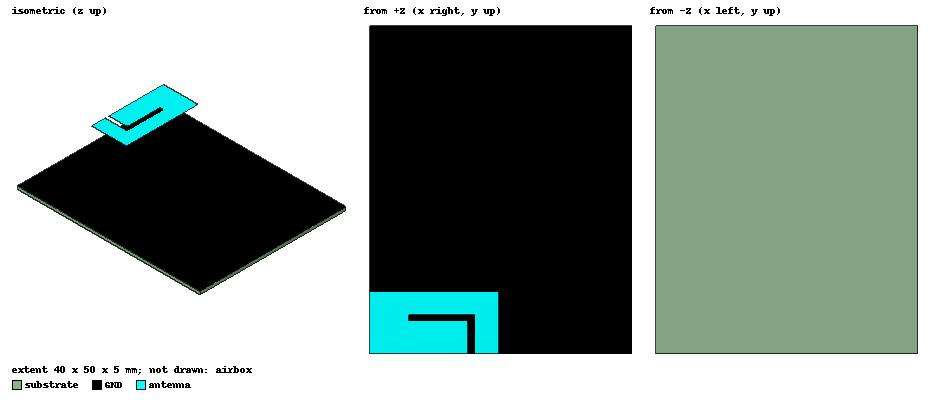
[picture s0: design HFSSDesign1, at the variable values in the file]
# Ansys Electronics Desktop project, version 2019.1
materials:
  vacuum: permittivity=1
  FR4_epoxy: permittivity=4.4 dielectric_loss_tangent=0.02
  copper: permeability=0.999991 conductivity=58000000
  air: permittivity=1.0006 permeability=1.0000004

design HFSSDesign1 (HFSS, DrivenTerminal, model units mm)
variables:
  L = 50mm
  W = 40mm
  d1 = 0mm
  d2 = 2mm
  d3 = 2mm
  d4 = 0.2mm
  d5 = 1mm
  a_l = 19.75mm
  a_w = 9.5mm
  h = 4mm
  subh = 1mm
  d6 = 1mm
  lam = 60mm
  d7 = 15mm
  gap_w = 5mm
  gap_l = 10mm
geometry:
  substrate [FR4_epoxy] = box(corner=(0mm, 0mm, 0mm), size=(w, l, subh))
  GND_line = rectangle(corner=(d1, 0mm, subh), z_size=h, x_size=d2)
  line_1 = rectangle(corner=(d1+d2+d3+d4, 0mm, subh), z_size=h, x_size=d5)
  antenna = rectangle(corner=(0mm, 0mm, subh+h), x_size=a_l, y_size=a_w)
  Rectangle1 = rectangle(corner=(d1+d2+d3, 0mm, subh), x_size=d4*2+d5, y_size=d6)
  GND = rectangle(corner=(0mm, 0mm, subh), x_size=w, y_size=l)
  Port = rectangle(corner=(d1+d2+d3+d4, 0mm, subh), x_size=d5, y_size=d6)
  airbox [air] = box(corner=(-lam/2, -lam/2, -lam/2-h-subh), size=(lam+w, lam+l, lam+h+subh))
  GND.subtract(Rectangle1)
  gap1 = rectangle(corner=(d7, 0mm, subh+h), x_size=1mm, y_size=gap_w)
  gap2 = rectangle(corner=(d7+1mm, gap_w, subh+h), x_size=-gap_l, y_size=1mm)
  antenna.subtract(gap1, gap2)
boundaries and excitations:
  FiniteCond1: Finite Conductivity Objects=[line_1, GND_line, GND, antenna] UseMaterial Material=copper IsInternal
  Rad1: Radiation Objects=airbox
  line_1_T1: Terminal port=1 Edges=line_1.edge(z at corner) TerminalResistance=50ohm
  1: Lumped Port Faces=Port.face Impedance=50ohm
  reference conductors: GND
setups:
  Setup1: HfssDriven Frequency=2.45GHz MaxDeltaS=0.02 MaximumPasses=8 MinimumPasses=1 MinimumConvergedPasses=1 PercentRefinement=30 BasisOrder=1 PortAccuracy=2
  Setup2: HfssDriven Frequency=5GHz MaxDeltaS=0.02 MaximumPasses=10 MinimumPasses=1 MinimumConvergedPasses=1 PercentRefinement=30 BasisOrder=1 PortAccuracy=2
    sweep Sweep: 1GHz to 6GHz step 0.02GHz; Type=Interpolating InterpTolerance=0.5 InterpMaxSolns=250 PassivityErrorTolerance=0.0001
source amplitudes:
  1:1: 1V 0deg
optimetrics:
  ParametricSetup1: Parametric Sim._Setups=[Setup1, Setup2]
    sweep d5: LIN 0.6mm 2mm 0.2mm
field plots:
  Vector_Jsurf1: Jsurf over antenna.face(at (9.875, 4.75, 5)) on Setup1 : LastAdaptive at Freq=2.45GHz Phase=0deg
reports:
  Terminal S Parameter Plot 1: dB(St(line_1_T1,line_1_T1)) vs Freq on Setup2 : Sweep [d3=2mm d5=all]; markers m1 at 2.4GHz
  Terminal S Parameter Chart 1: St(line_1_T1,line_1_T1) on Setup2 : Sweep [Freq=all d3=2mm d5=all]
